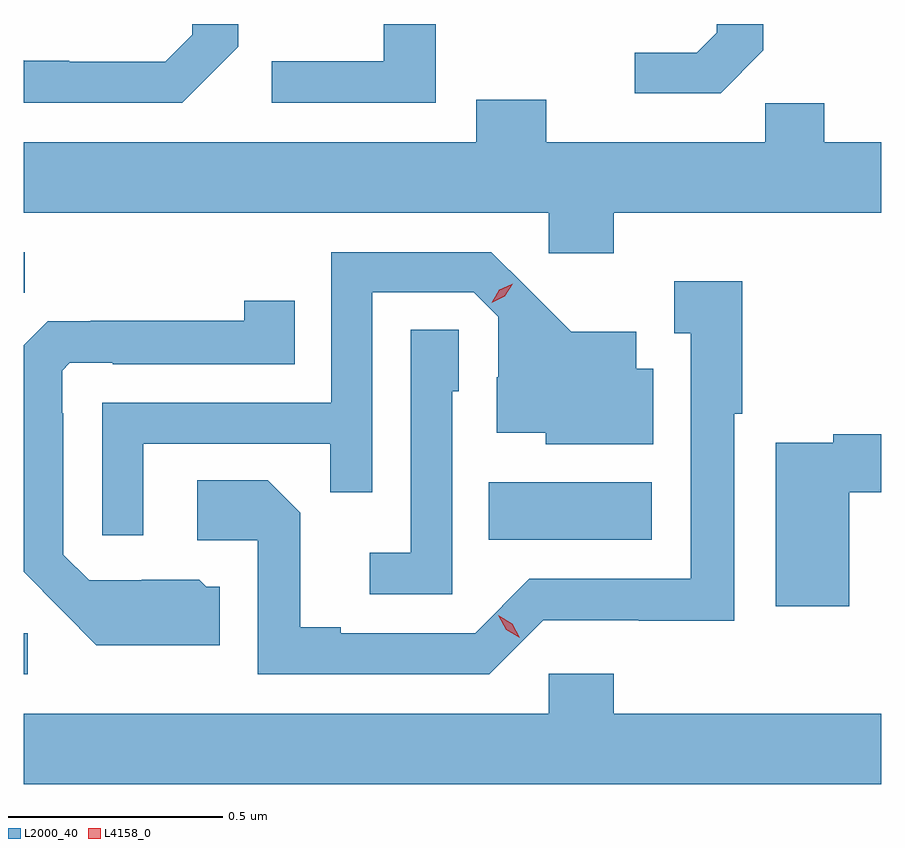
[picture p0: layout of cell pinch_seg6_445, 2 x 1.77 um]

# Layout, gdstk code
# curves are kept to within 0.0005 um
import gdstk
lib = gdstk.Library(unit=1e-6, precision=1e-09)
def R(c, l, rs):  # rectangles x0, y0, x1, y1
    for r in rs: c.add(gdstk.rectangle(r[:2], r[2:], *l))
def P(c, l, *ps):  # polygons
    for p in ps: c.add(gdstk.Polygon(p, *l))
L2000_40 = (2000, 40)
L4158_0 = (4158, 0)

pinch_seg6_445 = lib.new_cell('pinch_seg6_445')
R(pinch_seg6_445, L2000_40, [(706.602,931.608,706.612,931.704), (707.686,931.922,708.067,932.056), (706.602,932.497,706.605,932.592)])
P(pinch_seg6_445, L2000_40, [(707.103,933.071),(707.103,933.124),(706.995,933.124),(706.995,933.099),(706.932,933.036),(706.708,933.036),(706.708,933.038),(706.604,933.038),(706.602,933.04),(706.602,932.94),(706.972,932.94)],
  [(708.327,933.063),(708.327,933.124),(708.218,933.124),(708.218,933.104),(708.171,933.057),(708.027,933.057),(708.027,932.963),(708.227,932.963)],
  [(707.563,933.124),(707.442,933.124),(707.442,933.037),(707.181,933.037),(707.181,932.94),(707.563,932.94)],
  [(707.978,932.684),(708.602,932.684),(708.602,932.848),(708.469,932.848),(708.469,932.939),(708.331,932.939),(708.331,932.848),(707.821,932.848),(707.821,932.947),(707.657,932.947),(707.657,932.848),(706.602,932.848),(706.602,932.684),(707.826,932.684),(707.826,932.589),(707.978,932.589)],
  [(706.881,932.145),(707.317,932.145),(707.317,932.032),(707.415,932.032),(707.415,932.499),(707.652,932.499),(707.709,932.442),(707.709,932.3),(707.705,932.3),(707.705,932.171),(707.82,932.171),(707.82,932.144),(708.07,932.144),(708.07,932.32),(708.031,932.32),(708.031,932.407),(707.879,932.407),(707.692,932.592),(707.319,932.592),(707.319,932.241),(706.785,932.241),(706.785,931.932),(706.881,931.932)],
  [(707.814,931.734),(708.036,931.734),(708.036,931.733),(708.259,931.733),(708.259,932.215),(708.277,932.215),(708.277,932.524),(708.119,932.524),(708.119,932.403),(708.158,932.403),(708.158,931.83),(707.781,931.83),(707.655,931.704),(707.341,931.704),(707.341,931.717),(707.247,931.717),(707.247,931.984),(707.171,932.06),(707.007,932.06),(707.007,931.92),(707.148,931.92),(707.148,931.608),(707.688,931.608)],
  [(707.059,931.812),(707.028,931.812),(707.012,931.828),(706.878,931.828),(706.878,931.827),(706.755,931.827),(706.695,931.887),(706.695,932.216),(706.692,932.216),(706.692,932.316),(706.71,932.334),(706.81,932.334),(706.81,932.331),(707.234,932.331),(707.234,932.479),(707.116,932.479),(707.116,932.432),(706.759,932.432),(706.759,932.431),(706.658,932.431),(706.602,932.375),(706.602,931.847),(706.771,931.676),(707.059,931.676)],
  [(707.601,932.268),(707.616,932.268),(707.616,932.411),(707.505,932.411),(707.505,931.891),(707.409,931.891),(707.409,931.794),(707.601,931.794)],
  [(708.527,932.032),(708.602,932.032),(708.602,932.168),(708.49,932.168),(708.49,932.148),(708.356,932.148),(708.356,931.767),(708.527,931.767)],
  [(708.602,931.516),(707.978,931.516),(707.978,931.609),(707.826,931.609),(707.826,931.516),(706.602,931.516),(706.602,931.352),(708.602,931.352)])
P(pinch_seg6_445, L4158_0, [(707.759,931.693),(707.727,931.712),(707.709,931.745),(707.709,931.745),(707.709,931.745),(707.741,931.726),(707.759,931.693),(707.759,931.693)],
  [(707.693,932.474),(707.693,932.474),(707.711,932.504),(707.742,932.518),(707.742,932.518),(707.742,932.518),(707.724,932.489),(707.694,932.474)])

lib.write_gds('pinch_seg6_445.gds')
